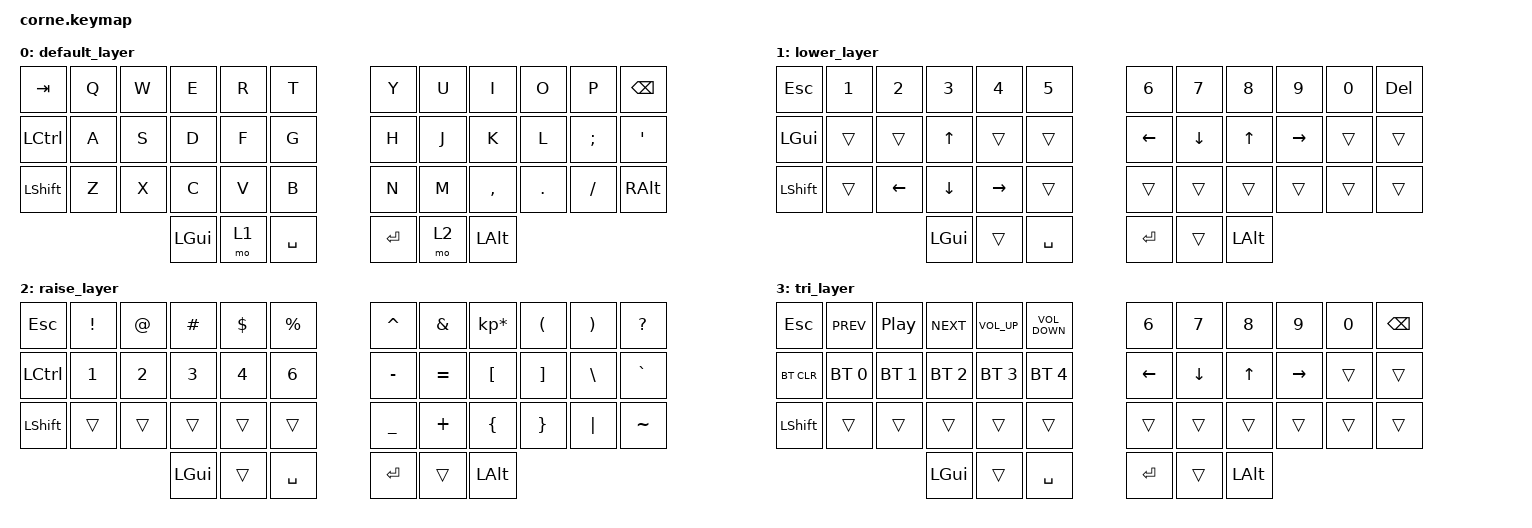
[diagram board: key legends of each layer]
/*
 * Copyright (c) 2020 The ZMK Contributors
 *
 * SPDX-License-Identifier: MIT
 */

#include <behaviors.dtsi>
#include <dt-bindings/zmk/bt.h>
#include <dt-bindings/zmk/keys.h>

#define HOST_OS 1

/ {
    conditional_layers {
        compatible = "zmk,conditional-layers";

        tri_layer {
            if-layers = <1 2>;
            then-layer = <3>;
        };
    };

    keymap {
        compatible = "zmk,keymap";

        default_layer {
            // -----------------------------------------------------------------------------------------
            // |  TAB |  Q  |  W  |  E  |  R  |  T  |   |  Y  |  U   |  I  |  O  |  P  | BKSP |
            // | CTRL |  A  |  S  |  D  |  F  |  G  |   |  H  |  J   |  K  |  L  |  ;  |  '   |
            // | SHFT |  Z  |  X  |  C  |  V  |  B  |   |  N  |  M   |  ,  |  .  |  /  | RALT |
            //                    | GUI | RSE | SPC |   | ENT | LWE  | ALT |

            bindings = <
&kp TAB    &kp Q  &kp W  &kp E     &kp R  &kp T        &kp Y    &kp U  &kp I      &kp O    &kp P     &kp BSPC
&kp LCTRL  &kp A  &kp S  &kp D     &kp F  &kp G        &kp H    &kp J  &kp K      &kp L    &kp SEMI  &kp SQT
&kp LSHFT  &kp Z  &kp X  &kp C     &kp V  &kp B        &kp N    &kp M  &kp COMMA  &kp DOT  &kp FSLH  &kp RALT
                         &kp LGUI  &mo 1  &kp SPACE    &kp RET  &mo 2  &kp LALT
            >;
        };

        lower_layer {
            // -----------------------------------------------------------------------------------------
            // |  ESC |  1  |  2  |  3  |  4  |  5  |   |  6  |  7  |  8  |  9  |  0  | DEL |
            // | BTCLR| BT1 | BT2 | BT3 | BT4 | BT5 |   | LFT | DWN |  UP | RGT |     |     |
            // | SHFT |     |     |     |     |     |   |     |     |     |     |     |     |
            //                    | GUI |     | SPC |   | ENT |     | ALT |

            bindings = <
&kp ESC    &kp N1  &kp N2    &kp N3    &kp N4     &kp N5       &kp N6    &kp N7    &kp N8    &kp N9     &kp N0  &kp DEL
&kp LGUI   &trans  &trans    &kp UP    &trans     &trans       &kp LEFT  &kp DOWN  &kp UP    &kp RIGHT  &trans  &trans
&kp LSHFT  &trans  &kp LEFT  &kp DOWN  &kp RIGHT  &trans       &trans    &trans    &trans    &trans     &trans  &trans
                             &kp LGUI  &trans     &kp SPACE    &kp RET   &trans    &kp LALT
            >;
        };

        raise_layer {
            // -----------------------------------------------------------------------------------------
            // |  TAB |  !  |  @  |  #  |  $  |  %  |   |  ^  |  &  |  *  |  (  |  )  |  QMARK |
            // | CTRL |  1  |  2  |  3  |  4  |  5  |   |  -  |  =  |  [  |  ]  |  \  |  `   |
            // | SHFT |     |     |     |     |     |   |  _  |  +  |  {  |  }  | "|" |  ~   |
            //                    | GUI |     | SPC |   | ENT |     | ALT |

            bindings = <
&kp ESC    &kp EXCL  &kp AT  &kp HASH  &kp DLLR  &kp PRCNT    &kp CARET  &kp AMPS   &kp KP_MULTIPLY  &kp LPAR  &kp RPAR  &kp QMARK
&kp LCTRL  &kp 1     &kp 2   &kp 3     &kp 4     &kp 6        &kp MINUS  &kp EQUAL  &kp LBKT         &kp RBKT  &kp BSLH  &kp GRAVE
&kp LSHFT  &trans    &trans  &trans    &trans    &trans       &kp UNDER  &kp PLUS   &kp LBRC         &kp RBRC  &kp PIPE  &kp TILDE
                             &kp LGUI  &trans    &kp SPACE    &kp RET    &trans     &kp LALT
            >;
        };

        tri_layer {
            // -----------------------------------------------------------------------------------------
            // |  ESC |  1  |  2  |  3  |  4  |  5  |   |  6  |  7  |  8  |  9  |  0  | ESC |
            // | BTCLR| BT1 | BT2 | BT3 | BT4 | BT5 |   | LFT | DWN |  UP | RGT |     |     |
            // | SHFT |     |     |     |     |     |   |     |     |     |     |     |     |
            //                    | GUI |     | SPC |   | ENT |     | ALT |

            bindings = <
&kp ESC     &kp C_PREV    &kp C_PLAY_PAUSE  &kp C_NEXT    &kp C_VOLUME_UP  &kp C_VOLUME_DOWN    &kp N6    &kp N7    &kp N8    &kp N9     &kp N0  &kp BKSP
&bt BT_CLR  &bt BT_SEL 0  &bt BT_SEL 1      &bt BT_SEL 2  &bt BT_SEL 3     &bt BT_SEL 4         &kp LEFT  &kp DOWN  &kp UP    &kp RIGHT  &trans  &trans
&kp LSHFT   &trans        &trans            &trans        &trans           &trans               &trans    &trans    &trans    &trans     &trans  &trans
                                            &kp LGUI      &trans           &kp SPACE            &kp RET   &trans    &kp LALT
            >;
        };
    };
};
